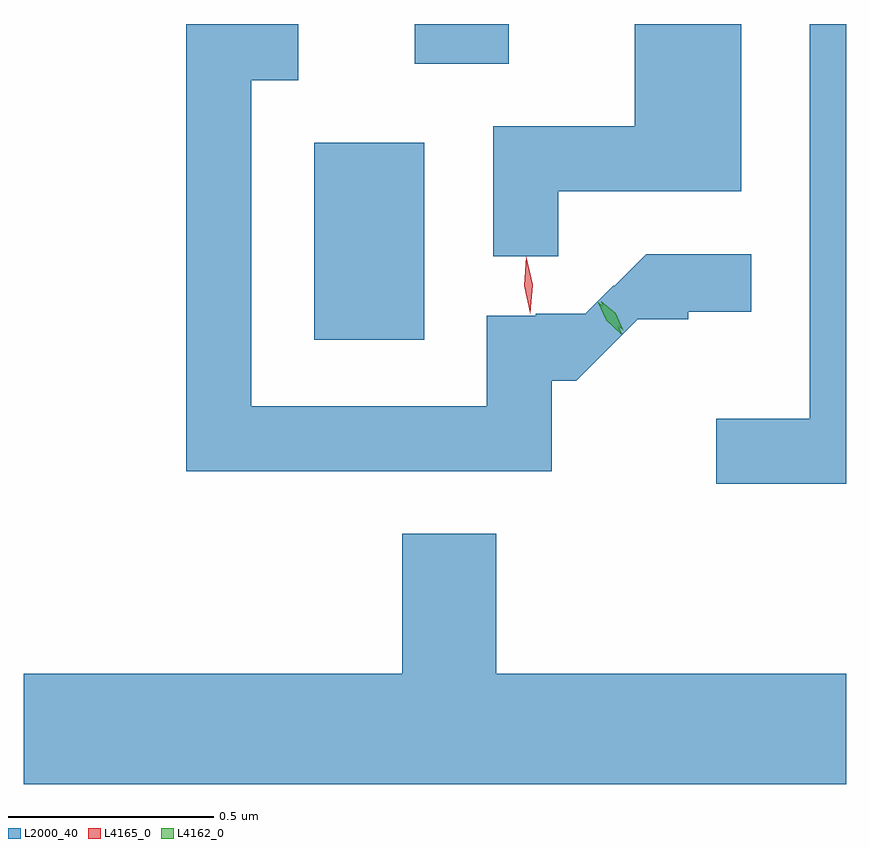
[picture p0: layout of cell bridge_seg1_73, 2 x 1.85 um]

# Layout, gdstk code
import gdstk
lib = gdstk.Library(unit=1e-6, precision=1e-09)
def R(c, l, rs):  # rectangles x0, y0, x1, y1
    for r in rs: c.add(gdstk.rectangle(r[:2], r[2:], *l))
def P(c, l, *ps):  # polygons
    for p in ps: c.add(gdstk.Polygon(p, *l))
L2000_40 = (2000, 40)
L4162_0 = (4162, 0)
L4165_0 = (4165, 0)

bridge_seg1_73 = lib.new_cell('bridge_seg1_73')
R(bridge_seg1_73, L2000_40, [(1763.676,947.276,1763.944,947.754), (1763.921,947.946,1764.149,948.043)])
P(bridge_seg1_73, L2000_40, [(1764.254,947.176),(1764.313,947.176),(1764.463,947.326),(1764.585,947.326),(1764.585,947.344),(1764.738,947.344),(1764.738,947.484),(1764.484,947.484),(1764.406,947.406),(1764.404,947.408),(1764.335,947.339),(1764.215,947.339),(1764.215,947.334),(1764.096,947.334),(1764.096,947.114),(1763.524,947.114),(1763.524,947.906),(1763.638,947.906),(1763.638,948.043),(1763.366,948.043),(1763.366,946.956),(1764.254,946.956)],
  [(1764.269,947.636),(1764.714,947.636),(1764.714,948.043),(1764.456,948.043),(1764.456,947.794),(1764.111,947.794),(1764.111,947.478),(1764.269,947.478)],
  [(1764.97,948.043),(1764.881,948.043),(1764.881,947.084),(1764.653,947.084),(1764.653,946.926),(1764.97,946.926)],
  [(1764.97,946.464),(1764.119,946.464),(1764.119,946.804),(1763.891,946.804),(1763.891,946.464),(1762.97,946.464),(1762.97,946.196),(1764.97,946.196)])
P(bridge_seg1_73, L4162_0, [(1764.423,947.289),(1764.386,947.323),(1764.365,947.368),(1764.365,947.368),(1764.366,947.368),(1764.402,947.335),(1764.424,947.29),(1764.424,947.289)],
  [(1764.427,947.299),(1764.393,947.328),(1764.374,947.368),(1764.374,947.369),(1764.374,947.369),(1764.409,947.34),(1764.428,947.299),(1764.428,947.299)])
P(bridge_seg1_73, L4165_0, [(1764.201,947.342),(1764.187,947.407),(1764.192,947.474),(1764.192,947.474),(1764.192,947.474),(1764.207,947.408),(1764.202,947.342),(1764.202,947.342)],
  [(1764.202,947.339),(1764.201,947.34),(1764.187,947.407),(1764.192,947.477),(1764.192,947.477),(1764.192,947.477),(1764.207,947.409),(1764.202,947.34)])

lib.write_gds('bridge_seg1_73.gds')
